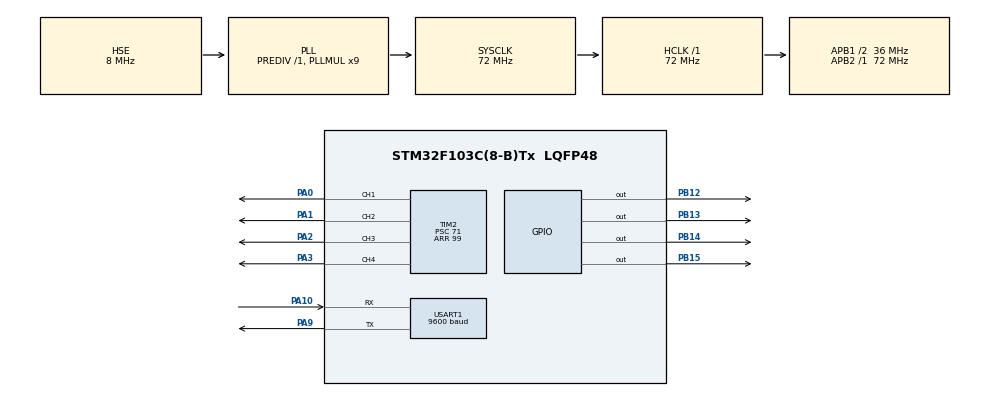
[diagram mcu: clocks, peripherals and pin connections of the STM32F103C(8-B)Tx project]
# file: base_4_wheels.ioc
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Mcu.Family=STM32F1
Mcu.Name=STM32F103C(8-B)Tx
Mcu.Package=LQFP48
NVIC.PriorityGroup=NVIC_PRIORITYGROUP_4
NVIC.USART1_IRQn=true\:0\:0\:false\:false\:true\:true\:true\:true
PA0-WKUP.Signal=S_TIM2_CH1_ETR
PA1.Signal=S_TIM2_CH2
PA10.Mode=Asynchronous
PA10.Signal=USART1_RX
PA13.Mode=Serial_Wire
PA13.Signal=SYS_JTMS-SWDIO
PA14.Mode=Serial_Wire
PA14.Signal=SYS_JTCK-SWCLK
PA2.Signal=S_TIM2_CH3
PA3.Signal=S_TIM2_CH4
PA9.Mode=Asynchronous
PA9.Signal=USART1_TX
PB12.GPIO_PuPd=GPIO_PULLDOWN
PB12.Signal=GPIO_Output
PB13.GPIO_PuPd=GPIO_PULLDOWN
PB13.Signal=GPIO_Output
PB14.GPIO_PuPd=GPIO_PULLDOWN
PB14.Signal=GPIO_Output
PB15.GPIO_PuPd=GPIO_PULLDOWN
PB15.Signal=GPIO_Output
PD0-OSC_IN.Mode=HSE-External-Oscillator
PD0-OSC_IN.Signal=RCC_OSC_IN
PD1-OSC_OUT.Mode=HSE-External-Oscillator
PD1-OSC_OUT.Signal=RCC_OSC_OUT
ProjectManager.HeapSize=0x200
ProjectManager.StackSize=0x400
ProjectManager.TargetToolchain=MDK-ARM V5
RCC.AHBFreq_Value=72000000
RCC.APB1CLKDivider=RCC_HCLK_DIV2
RCC.APB1Freq_Value=36000000
RCC.APB1TimFreq_Value=72000000
RCC.APB2Freq_Value=72000000
RCC.APB2TimFreq_Value=72000000
RCC.HCLKFreq_Value=72000000
RCC.PLLMUL=RCC_PLL_MUL9
RCC.PLLSourceVirtual=RCC_PLLSOURCE_HSE
RCC.SYSCLKFreq_VALUE=72000000
RCC.SYSCLKSource=RCC_SYSCLKSOURCE_PLLCLK
RCC.USBFreq_Value=72000000
SH.S_TIM2_CH1_ETR.0=TIM2_CH1,PWM Generation1 CH1
SH.S_TIM2_CH2.0=TIM2_CH2,PWM Generation2 CH2
SH.S_TIM2_CH3.0=TIM2_CH3,PWM Generation3 CH3
SH.S_TIM2_CH4.0=TIM2_CH4,PWM Generation4 CH4
TIM2.Channel-PWM\ Generation1\ CH1=TIM_CHANNEL_1
TIM2.Channel-PWM\ Generation2\ CH2=TIM_CHANNEL_2
TIM2.Channel-PWM\ Generation3\ CH3=TIM_CHANNEL_3
TIM2.Channel-PWM\ Generation4\ CH4=TIM_CHANNEL_4
TIM2.Period=99
TIM2.Prescaler=71
USART1.BaudRate=9600
USART1.VirtualMode=VM_ASYNC
VP_TIM2_VS_ClockSourceINT.Mode=Internal
board=custom

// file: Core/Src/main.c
/* USER CODE BEGIN Header */
/**
  ******************************************************************************
  * @file           : main.c
  * @brief          : Main program body
  ******************************************************************************
  * @attention
  *
  * Copyright (c) 2026 STMicroelectronics.
  * All rights reserved.
  *
  * This software is licensed under terms that can be found in the LICENSE file
  * in the root directory of this software component.
  * If no LICENSE file comes with this software, it is provided AS-IS.
  *
  ******************************************************************************
  */
/* USER CODE END Header */
#include "main.h"

/* USER CODE BEGIN Includes */
#include "wheels_and_necessary_inits.h"
#include "Car_status_Car_control.h"

/* USER CODE END Includes */

TIM_HandleTypeDef htim2;

UART_HandleTypeDef huart1;

void SystemClock_Config(void);
static void MX_GPIO_Init(void);
static void MX_TIM2_Init(void);
static void MX_USART1_UART_Init(void);

/* USER CODE BEGIN 0 */
uint8_t data_rx;
uint8_t flag = 0;
void HAL_UART_RxCpltCallback(UART_HandleTypeDef *huart)
{
  /* Prevent unused argument(s) compilation warning */
  UNUSED(huart);
  if(huart->Instance == USART1)
	{
		flag = 1;
		HAL_UART_Receive_IT(&huart1, &data_rx, 1);
	}
}
//car speed control

/* USER CODE END 0 */

int main(void)
{

  /* MCU Configuration--------------------------------------------------------*/

  /* Reset of all peripherals, Initializes the Flash interface and the Systick. */
  HAL_Init();

  /* Configure the system clock */
  SystemClock_Config();

  /* Initialize all configured peripherals */
  MX_GPIO_Init();
  MX_TIM2_Init();
  MX_USART1_UART_Init();
  /* USER CODE BEGIN 2 */
	car_init();
	HAL_UART_Receive_IT(&huart1, &data_rx, 1);
  /* USER CODE END 2 */

  /* Infinite loop */
  while (1)
  {

    /* USER CODE BEGIN 3 */
		if(flag ==1)
		{

 			Car_identify_status(data_rx);
			flag = 0 ;
		}
		Car_driven_by_bluetooth(current_value);

  }
  /* USER CODE END 3 */
}

void SystemClock_Config(void)
{
  RCC_OscInitTypeDef RCC_OscInitStruct = {0};
  RCC_ClkInitTypeDef RCC_ClkInitStruct = {0};

  /** Initializes the RCC Oscillators according to the specified parameters
  * in the RCC_OscInitTypeDef structure.
  */
  RCC_OscInitStruct.OscillatorType = RCC_OSCILLATORTYPE_HSE;
  RCC_OscInitStruct.HSEState = RCC_HSE_ON;
  RCC_OscInitStruct.HSEPredivValue = RCC_HSE_PREDIV_DIV1;
  RCC_OscInitStruct.HSIState = RCC_HSI_ON;
  RCC_OscInitStruct.PLL.PLLState = RCC_PLL_ON;
  RCC_OscInitStruct.PLL.PLLSource = RCC_PLLSOURCE_HSE;
  RCC_OscInitStruct.PLL.PLLMUL = RCC_PLL_MUL9;
  if (HAL_RCC_OscConfig(&RCC_OscInitStruct) != HAL_OK)
  {
    Error_Handler();
  }

  /** Initializes the CPU, AHB and APB buses clocks
  */
  RCC_ClkInitStruct.ClockType = RCC_CLOCKTYPE_HCLK|RCC_CLOCKTYPE_SYSCLK
                              |RCC_CLOCKTYPE_PCLK1|RCC_CLOCKTYPE_PCLK2;
  RCC_ClkInitStruct.SYSCLKSource = RCC_SYSCLKSOURCE_PLLCLK;
  RCC_ClkInitStruct.AHBCLKDivider = RCC_SYSCLK_DIV1;
  RCC_ClkInitStruct.APB1CLKDivider = RCC_HCLK_DIV2;
  RCC_ClkInitStruct.APB2CLKDivider = RCC_HCLK_DIV1;

  if (HAL_RCC_ClockConfig(&RCC_ClkInitStruct, FLASH_LATENCY_2) != HAL_OK)
  {
    Error_Handler();
  }
}

static void MX_TIM2_Init(void)
{

  TIM_ClockConfigTypeDef sClockSourceConfig = {0};
  TIM_MasterConfigTypeDef sMasterConfig = {0};
  TIM_OC_InitTypeDef sConfigOC = {0};

  htim2.Instance = TIM2;
  htim2.Init.Prescaler = 71;
  htim2.Init.CounterMode = TIM_COUNTERMODE_UP;
  htim2.Init.Period = 99;
  htim2.Init.ClockDivision = TIM_CLOCKDIVISION_DIV1;
  htim2.Init.AutoReloadPreload = TIM_AUTORELOAD_PRELOAD_DISABLE;
  if (HAL_TIM_Base_Init(&htim2) != HAL_OK)
  {
    Error_Handler();
  }
  sClockSourceConfig.ClockSource = TIM_CLOCKSOURCE_INTERNAL;
  if (HAL_TIM_ConfigClockSource(&htim2, &sClockSourceConfig) != HAL_OK)
  {
    Error_Handler();
  }
  if (HAL_TIM_PWM_Init(&htim2) != HAL_OK)
  {
    Error_Handler();
  }
  sMasterConfig.MasterOutputTrigger = TIM_TRGO_RESET;
  sMasterConfig.MasterSlaveMode = TIM_MASTERSLAVEMODE_DISABLE;
  if (HAL_TIMEx_MasterConfigSynchronization(&htim2, &sMasterConfig) != HAL_OK)
  {
    Error_Handler();
  }
  sConfigOC.OCMode = TIM_OCMODE_PWM1;
  sConfigOC.Pulse = 0;
  sConfigOC.OCPolarity = TIM_OCPOLARITY_HIGH;
  sConfigOC.OCFastMode = TIM_OCFAST_DISABLE;
  if (HAL_TIM_PWM_ConfigChannel(&htim2, &sConfigOC, TIM_CHANNEL_1) != HAL_OK)
  {
    Error_Handler();
  }
  if (HAL_TIM_PWM_ConfigChannel(&htim2, &sConfigOC, TIM_CHANNEL_2) != HAL_OK)
  {
    Error_Handler();
  }
  if (HAL_TIM_PWM_ConfigChannel(&htim2, &sConfigOC, TIM_CHANNEL_3) != HAL_OK)
  {
    Error_Handler();
  }
  if (HAL_TIM_PWM_ConfigChannel(&htim2, &sConfigOC, TIM_CHANNEL_4) != HAL_OK)
  {
    Error_Handler();
  }
  HAL_TIM_MspPostInit(&htim2);

}

static void MX_USART1_UART_Init(void)
{

  huart1.Instance = USART1;
  huart1.Init.BaudRate = 9600;
  huart1.Init.WordLength = UART_WORDLENGTH_8B;
  huart1.Init.StopBits = UART_STOPBITS_1;
  huart1.Init.Parity = UART_PARITY_NONE;
  huart1.Init.Mode = UART_MODE_TX_RX;
  huart1.Init.HwFlowCtl = UART_HWCONTROL_NONE;
  huart1.Init.OverSampling = UART_OVERSAMPLING_16;
  if (HAL_UART_Init(&huart1) != HAL_OK)
  {
    Error_Handler();
  }

}

static void MX_GPIO_Init(void)
{
  GPIO_InitTypeDef GPIO_InitStruct = {0};

  /* GPIO Ports Clock Enable */
  __HAL_RCC_GPIOD_CLK_ENABLE();
  __HAL_RCC_GPIOA_CLK_ENABLE();
  __HAL_RCC_GPIOB_CLK_ENABLE();

  /*Configure GPIO pin Output Level */
  HAL_GPIO_WritePin(GPIOB, GPIO_PIN_12|GPIO_PIN_13|GPIO_PIN_14|GPIO_PIN_15, GPIO_PIN_RESET);

  /*Configure GPIO pins : PB12 PB13 PB14 PB15 */
  GPIO_InitStruct.Pin = GPIO_PIN_12|GPIO_PIN_13|GPIO_PIN_14|GPIO_PIN_15;
  GPIO_InitStruct.Mode = GPIO_MODE_OUTPUT_PP;
  GPIO_InitStruct.Pull = GPIO_PULLDOWN;
  GPIO_InitStruct.Speed = GPIO_SPEED_FREQ_LOW;
  HAL_GPIO_Init(GPIOB, &GPIO_InitStruct);

}

void Error_Handler(void)
{
  __disable_irq();
  while (1)
  {
  }
}
